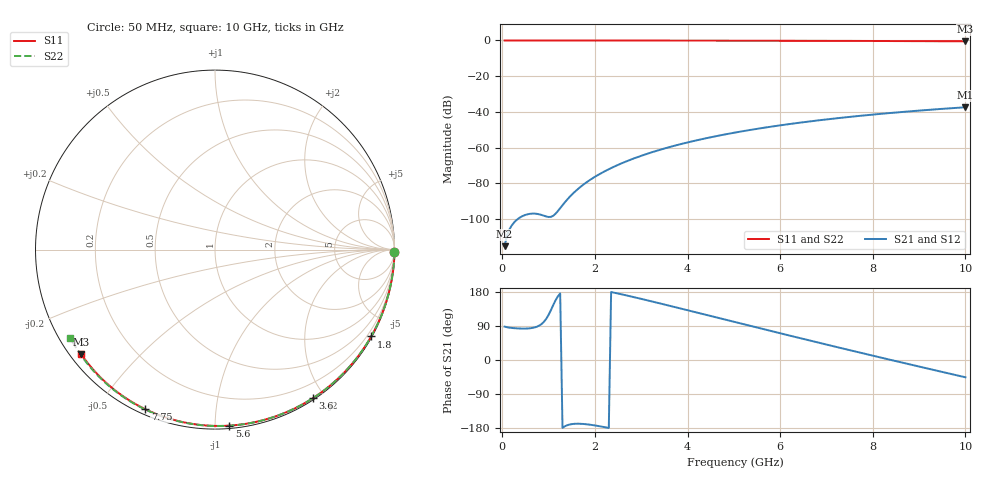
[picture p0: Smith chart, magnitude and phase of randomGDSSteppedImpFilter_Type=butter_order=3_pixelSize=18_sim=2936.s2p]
! freq	dB(S11)	phase(S11)	dB(S12)	phase(S12)
!  dB(S21)	phase(S21)	dB(S22)	phase(S22)
!S-par simulation data
#  GHz  S  DB  R 50
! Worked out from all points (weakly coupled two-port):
!   200 points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, 50 MHz to 10 GHz, reference 50 ohm
!   highest |S21| = -37.40 dB at 10 GHz (marker M1); lowest = -115.2 dB at 50 MHz (marker M2)
!   lowest |S11| = -0.5 dB at 10 GHz (marker M3), VSWR 36.11, Z = 1.55 - j17.2 ohm
!   |S11| at or under -10 dB: nowhere
!   |S22| runs from -0.5 to 0.0 dB; largest |S21 - S12| = 0
!   S11 on the Smith chart (normalised r, x): 50 MHz: open; 1.8 GHz: 0.03, -3.86; 3.6 GHz: 0.02, -1.85; 5.6 GHz: 0.02, -1.09; 7.75 GHz: 0.02, -0.65; 10 GHz: 0.03, -0.34
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0.05  -0.00 -0.8  -115.16 88.1  -115.16 88.1  -0.00 -0.9
0.45  -0.01 -7.4  -98.16 82.9  -98.16 82.9  -0.01 -7.8
0.9  -0.02 -14.7  -98.13 100.9  -98.13 100.9  -0.02 -15.4
1.3  -0.03 -21.1  -92.22 -178.9  -92.22 -178.9  -0.03 -22.2
1.75  -0.04 -28.3  -80.72 -168.8  -80.72 -168.8  -0.04 -29.7
1.8  -0.04 -29.1  -79.75 -169.3  -79.75 -169.3  -0.04 -30.6
1.95  -0.04 -31.4  -77.13 -171.7  -77.13 -171.7  -0.04 -33.1
2.1  -0.04 -33.8  -74.81 -174.7  -74.81 -174.7  -0.05 -35.5
2.3  -0.05 -36.9  -72.07 -179.4  -72.07 -179.4  -0.05 -38.8
2.5  -0.05 -40.0  -69.64 175.4  -69.64 175.4  -0.05 -42.1
2.9  -0.06 -46.2  -65.49 164.2  -65.49 164.2  -0.06 -48.5
3.4  -0.07 -53.7  -61.24 149.5  -61.24 149.5  -0.08 -56.5
3.6  -0.08 -56.7  -59.76 143.5  -59.76 143.5  -0.08 -59.6
4.3  -0.09 -67.0  -55.30 122.2  -55.30 122.2  -0.10 -70.3
5.05  -0.12 -77.7  -51.45 99.4  -51.45 99.4  -0.13 -81.5
5.6  -0.14 -85.3  -49.06 82.7  -49.06 82.7  -0.15 -89.4
6.15  -0.16 -92.8  -46.97 66.1  -46.97 66.1  -0.17 -97.2
6.7  -0.19 -100.1  -45.12 49.6  -45.12 49.6  -0.20 -104.8
7.75  -0.26 -113.6  -42.13 18.7  -42.13 18.7  -0.28 -119.0
8.35  -0.31 -121.2  -40.67 1.3  -40.67 1.3  -0.33 -126.9
9.2  -0.39 -131.9  -38.86 -23.0  -38.86 -23.0  -0.41 -138.1
10  -0.48 -141.9  -37.40 -45.6  -37.40 -45.6  -0.50 -148.7
